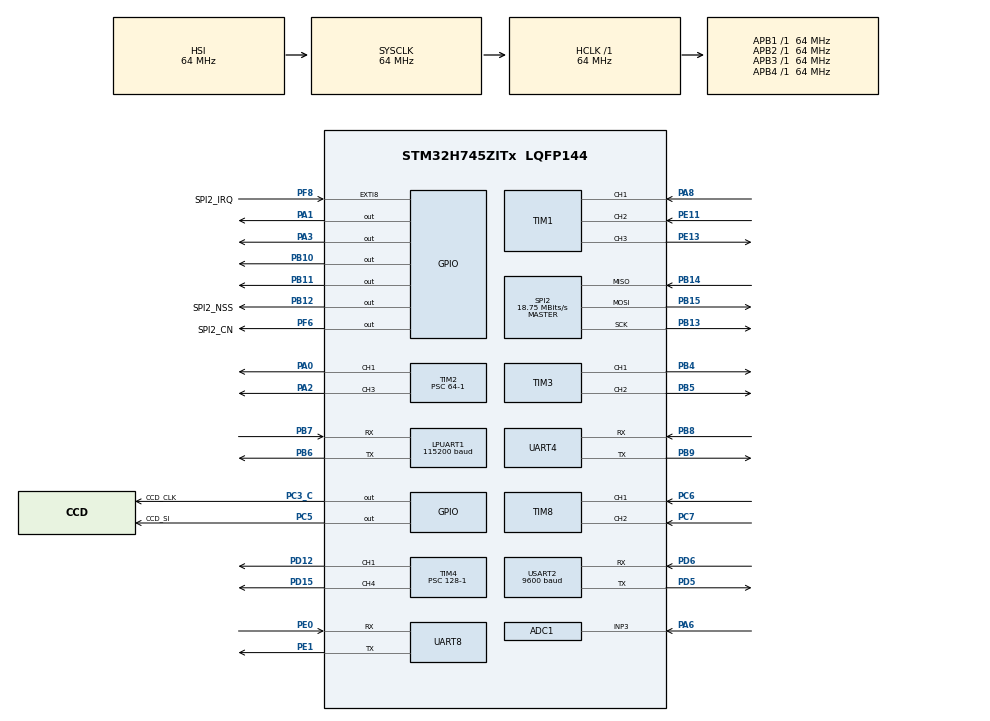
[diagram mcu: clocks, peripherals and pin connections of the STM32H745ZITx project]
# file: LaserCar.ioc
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ADC1.Channel-0\#ChannelRegularConversion=ADC_CHANNEL_3
ADC1.ClockPrescaler=ADC_CLOCK_ASYNC_DIV2
ADC1.ContinuousConvMode=ENABLE
ADC1.NbrOfConversion=1
ADC1.NbrOfConversionFlag=1
ADC1.OffsetNumber-0\#ChannelRegularConversion=ADC_OFFSET_NONE
ADC1.OffsetSignedSaturation-0\#ChannelRegularConversion=DISABLE
ADC1.Overrun=ADC_OVR_DATA_OVERWRITTEN
ADC1.Rank-0\#ChannelRegularConversion=1
ADC1.Resolution=ADC_RESOLUTION_12B
ADC1.SamplingTime-0\#ChannelRegularConversion=ADC_SAMPLETIME_8CYCLES_5
ADC1.master=1
CORTEX_M7.CPU_DCache=Enabled
CORTEX_M7.CPU_ICache=Enabled
CORTEX_M7.DisableExec-Cortex_Memory_Protection_Unit_Region0_Settings=MPU_INSTRUCTION_ACCESS_DISABLE
CORTEX_M7.Enable-Cortex_Memory_Protection_Unit_Region0_Settings=MPU_REGION_ENABLE
CORTEX_M7.IsShareable-Cortex_Memory_Protection_Unit_Region0_Settings=MPU_ACCESS_SHAREABLE
CORTEX_M7.MPU_Control=MPU_PRIVILEGED_DEFAULT
CORTEX_M7.Size-Cortex_Memory_Protection_Unit_Region0_Settings=MPU_REGION_SIZE_4GB
CORTEX_M7.SubRegionDisable-Cortex_Memory_Protection_Unit_Region0_Settings=0x87
CortexM4.IPs=BDMA,CORTEX_M4\:I,DEBUG,DMA,FATFS_M4\:I,FREERTOS_M4\:I,GPIO,IWDG2\:I,MDMA,NVIC2\:I,OPENAMP_M4\:I,PDM2PCM_M4\:I,PWR,RCC,RESMGR_UTILITY,SYS_M4\:I,USB_DEVICE_M4\:I,USB_HOST_M4\:I,VREFBUF,WWDG2\:I
CortexM7.IPs=BDMA\:I,CORTEX_M7\:I,DEBUG\:I,DMA\:I,FATFS_M7\:I,FREERTOS_M7\:I,GPIO\:I,IWDG1\:I,MDMA\:I,NVIC1\:I,OPENAMP_M7\:I,PDM2PCM_M7\:I,PWR\:I,RCC\:I,RESMGR_UTILITY\:I,SYS\:I,USB_DEVICE_M7\:I,USB_HOST_M7\:I,VREFBUF\:I,WWDG1\:I,TIM2\:I,TIM1\:I,USART2\:I,ADC1\:I,TIM3\:I,TIM4\:I,TIM8\:I,TIM5\:I,LPUART1\:I,SPI2\:I,UART4\:I,UART8\:I
CortexM7.Pins=PF6,PF8,PC3_C,PA1,PA3,PC5,PB10,PB11,PB12
LPUART1.BaudRate=115200
Mcu.Family=STM32H7
Mcu.Name=STM32H745ZITx
Mcu.Package=LQFP144
NVIC1.EXTI9_5_IRQn=true\:0\:0\:false\:false\:true\:true\:true\:true
NVIC1.LPUART1_IRQn=true\:0\:0\:false\:false\:true\:true\:true\:true
NVIC1.PriorityGroup=NVIC_PRIORITYGROUP_4
NVIC1.TIM2_IRQn=true\:0\:0\:false\:false\:true\:true\:true\:true
NVIC1.TIM3_IRQn=true\:0\:0\:false\:false\:true\:true\:true\:true
NVIC1.TIM4_IRQn=true\:0\:0\:false\:false\:true\:true\:true\:true
NVIC1.TIM5_IRQn=true\:0\:0\:false\:false\:true\:true\:true\:true
NVIC1.UART4_IRQn=true\:0\:0\:false\:false\:true\:true\:true\:true
NVIC1.USART2_IRQn=true\:0\:0\:false\:false\:true\:true\:true\:true
NVIC2.PriorityGroup=NVIC_PRIORITYGROUP_4
PA0.PinAttribute=CortexM7
PA0.Signal=S_TIM2_CH1_ETR
PA1.GPIO_ModeDefaultOutputPP=GPIO_MODE_OUTPUT_PP
PA1.GPIO_Speed=GPIO_SPEED_FREQ_LOW
PA1.PinAttribute=CortexM7
PA1.PinState=GPIO_PIN_RESET
PA1.Signal=GPIO_Output
PA2.PinAttribute=CortexM7
PA2.Signal=S_TIM2_CH3
PA3.GPIO_ModeDefaultOutputPP=GPIO_MODE_OUTPUT_PP
PA3.GPIO_Speed=GPIO_SPEED_FREQ_LOW
PA3.PinAttribute=CortexM7
PA3.PinState=GPIO_PIN_RESET
PA3.Signal=GPIO_Output
PA6.GPIO_PuPd=GPIO_NOPULL
PA6.PinAttribute=CortexM7
PA6.Signal=ADCx_INP3
PA8.GPIO_Speed=GPIO_SPEED_FREQ_HIGH
PA8.PinAttribute=CortexM7
PA8.Signal=S_TIM1_CH1
PB10.GPIO_Speed=GPIO_SPEED_FREQ_HIGH
PB10.PinAttribute=CortexM7
PB10.PinState=GPIO_PIN_SET
PB10.Signal=GPIO_Output
PB11.GPIO_Speed=GPIO_SPEED_FREQ_HIGH
PB11.PinAttribute=CortexM7
PB11.PinState=GPIO_PIN_SET
PB11.Signal=GPIO_Output
PB12.GPIO_Label=SPI2_NSS
PB12.GPIO_ModeDefaultOutputPP=GPIO_MODE_OUTPUT_PP
PB12.GPIO_PuPd=GPIO_PULLUP
PB12.GPIO_Speed=GPIO_SPEED_FREQ_HIGH
PB12.PinAttribute=CortexM7
PB12.PinState=GPIO_PIN_SET
PB12.Signal=GPIO_Output
PB13.Mode=Full_Duplex_Master
PB13.PinAttribute=CortexM7
PB13.Signal=SPI2_SCK
PB14.Mode=Full_Duplex_Master
PB14.PinAttribute=CortexM7
PB14.Signal=SPI2_MISO
PB15.Mode=Full_Duplex_Master
PB15.PinAttribute=CortexM7
PB15.Signal=SPI2_MOSI
PB4\ (NJTRST).PinAttribute=CortexM7
PB4\ (NJTRST).Signal=S_TIM3_CH1
PB5.PinAttribute=CortexM7
PB5.Signal=S_TIM3_CH2
PB6.Mode=Asynchronous
PB6.PinAttribute=CortexM7
PB6.Signal=LPUART1_TX
PB7.Mode=Asynchronous
PB7.PinAttribute=CortexM7
PB7.Signal=LPUART1_RX
PB8.Mode=Asynchronous
PB8.PinAttribute=CortexM7
PB8.Signal=UART4_RX
PB9.Mode=Asynchronous
PB9.PinAttribute=CortexM7
PB9.Signal=UART4_TX
PC3_C.GPIO_Label=CCD_CLK
PC3_C.GPIO_ModeDefaultOutputPP=GPIO_MODE_OUTPUT_PP
PC3_C.GPIO_PuPd=GPIO_PULLUP
PC3_C.GPIO_Speed=GPIO_SPEED_FREQ_LOW
PC3_C.PinAttribute=CortexM7
PC3_C.PinState=GPIO_PIN_RESET
PC3_C.Signal=GPIO_Output
PC5.GPIO_Label=CCD_SI
PC5.GPIO_PuPd=GPIO_PULLUP
PC5.GPIO_Speed=GPIO_SPEED_FREQ_LOW
PC5.PinAttribute=CortexM7
PC5.PinState=GPIO_PIN_RESET
PC5.Signal=GPIO_Output
PC6.PinAttribute=CortexM7
PC6.Signal=S_TIM8_CH1
PC7.PinAttribute=CortexM7
PC7.Signal=S_TIM8_CH2
PD12.PinAttribute=CortexM7
PD12.Signal=S_TIM4_CH1
PD15.PinAttribute=CortexM7
PD15.Signal=S_TIM4_CH4
PD5.Mode=Asynchronous
PD5.PinAttribute=CortexM7
PD5.Signal=USART2_TX
PD6.Mode=Asynchronous
PD6.PinAttribute=CortexM7
PD6.Signal=USART2_RX
PE0.Mode=Asynchronous
PE0.PinAttribute=CortexM7
PE0.Signal=UART8_RX
PE1.Mode=Asynchronous
PE1.PinAttribute=CortexM7
PE1.Signal=UART8_TX
PE11.GPIO_Speed=GPIO_SPEED_FREQ_HIGH
PE11.PinAttribute=CortexM7
PE11.Signal=S_TIM1_CH2
PE13.PinAttribute=CortexM7
PE13.Signal=S_TIM1_CH3
PF6.GPIO_Label=SPI2_CN
PF6.GPIO_ModeDefaultOutputPP=GPIO_MODE_OUTPUT_PP
PF6.GPIO_PuPd=GPIO_PULLUP
PF6.GPIO_Speed=GPIO_SPEED_FREQ_HIGH
PF6.PinAttribute=CortexM7
PF6.PinState=GPIO_PIN_SET
PF6.Signal=GPIO_Output
PF8.GPIO_Label=SPI2_IRQ
PF8.GPIO_ModeDefaultEXTI=GPIO_MODE_IT_FALLING
PF8.GPIO_PuPd=GPIO_PULLUP
PF8.PinAttribute=CortexM7
PF8.Signal=GPXTI8
ProjectManager.HeapSize=M4-0x200,M7-0x200
ProjectManager.StackSize=M4-0x400,M7-0x400
ProjectManager.TargetToolchain=STM32CubeIDE
RCC.ADCFreq_Value=13333333.333333334
RCC.APB1Freq_Value=64000000
RCC.APB2Freq_Value=64000000
RCC.APB3Freq_Value=64000000
RCC.APB4Freq_Value=64000000
RCC.CSICalibrationValue=32
RCC.CortexFreq_Value=64000000
RCC.DIVM1=4
RCC.DIVM2=4
RCC.DIVN1=9
RCC.DIVN2=10
RCC.DIVP2=12
RCC.DIVQ1=1
RCC.HCLKFreq_Value=64000000
RCC.HSE_VALUE=25000000
RCC.HSICalibrationValue=64
RCC.PLL2FRACN=0
RCC.PLL3FRACN=0
RCC.PLL3_VCI_Range-AdvancedSettings=RCC_PLL3VCIRANGE_0
RCC.PLLFRACN=3072
RCC.PWR_Regulator_Voltage_Scale=PWR_REGULATOR_VOLTAGE_SCALE1
RCC.SYSCLKFreq_VALUE=64000000
RCC.USBFreq_Value=150000000
SH.ADCx_INP3.0=ADC1_INP3,IN3-Single-Ended
SH.S_TIM1_CH1.0=TIM1_CH1,Encoder_Interface
SH.S_TIM1_CH2.0=TIM1_CH2,Encoder_Interface
SH.S_TIM1_CH3.0=TIM1_CH3,PWM Generation3 CH3
SH.S_TIM2_CH1_ETR.0=TIM2_CH1,PWM Generation1 CH1
SH.S_TIM2_CH3.0=TIM2_CH3,PWM Generation3 CH3
SH.S_TIM3_CH1.0=TIM3_CH1,PWM Generation1 CH1
SH.S_TIM3_CH2.0=TIM3_CH2,PWM Generation2 CH2
SH.S_TIM4_CH1.0=TIM4_CH1,PWM Generation1 CH1
SH.S_TIM4_CH4.0=TIM4_CH4,PWM Generation4 CH4
SH.S_TIM8_CH1.0=TIM8_CH1,Encoder_Interface
SH.S_TIM8_CH2.0=TIM8_CH2,Encoder_Interface
SPI2.BaudRatePrescaler=SPI_BAUDRATEPRESCALER_8
SPI2.CRCCalculation=SPI_CRCCALCULATION_ENABLE
SPI2.CalculateBaudRate=18.75 MBits/s
SPI2.DataSize=SPI_DATASIZE_8BIT
SPI2.Direction=SPI_DIRECTION_2LINES
SPI2.Mode=SPI_MODE_MASTER
SPI2.VirtualType=VM_MASTER
SYS.userName=SYS_M7
TIM1.Channel-PWM\ Generation3\ CH3=TIM_CHANNEL_3
TIM1.ClockDivision=TIM_CLOCKDIVISION_DIV1
TIM1.EncoderMode=TIM_ENCODERMODE_TI12
TIM1.IC1Filter=15
TIM1.IC2Filter=15
TIM2.AutoReloadPreload=TIM_AUTORELOAD_PRELOAD_ENABLE
TIM2.Channel-PWM\ Generation1\ CH1=TIM_CHANNEL_1
TIM2.Channel-PWM\ Generation3\ CH3=TIM_CHANNEL_3
TIM2.OC1Preload_PWM=DISABLE
TIM2.OC3Preload_PWM=DISABLE
TIM2.Period=10000-1
TIM2.Prescaler=64-1
TIM2.Pulse-PWM\ Generation1\ CH1=750
TIM2.Pulse-PWM\ Generation3\ CH3=750
TIM3.Channel-PWM\ Generation1\ CH1=TIM_CHANNEL_1
TIM3.Channel-PWM\ Generation2\ CH2=TIM_CHANNEL_2
TIM4.Channel-PWM\ Generation1\ CH1=TIM_CHANNEL_1
TIM4.Channel-PWM\ Generation4\ CH4=TIM_CHANNEL_4
TIM4.Period=10000-1
TIM4.Prescaler=128-1
TIM5.Period=500-1
TIM5.Prescaler=128-1
TIM8.EncoderMode=TIM_ENCODERMODE_TI12
TIM8.IC1Filter=15
TIM8.IC2Filter=15
USART2.BaudRate=9600
USART2.VirtualMode-Asynchronous=VM_ASYNC
VP_SYS_M4_VS_Systick.Mode=SysTick
VP_TIM2_VS_ClockSourceINT.Mode=Internal
VP_TIM3_VS_ClockSourceINT.Mode=Internal
VP_TIM4_VS_ClockSourceINT.Mode=Internal
VP_TIM5_VS_ClockSourceINT.Mode=Internal
board=custom

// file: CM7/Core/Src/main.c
/* USER CODE BEGIN Header */
/**
  ******************************************************************************
  * @file           : main.c
  * @brief          : Main program body
  ******************************************************************************
  * @attention
  *
  * Copyright (c) 2025 STMicroelectronics.
  * All rights reserved.
  *
  * This software is licensed under terms that can be found in the LICENSE file
  * in the root directory of this software component.
  * If no LICENSE file comes with this software, it is provided AS-IS.
  *
  ******************************************************************************
  */
/* USER CODE END Header */
#include "main.h"
#include "adc.h"
#include "usart.h"
#include "spi.h"
#include "tim.h"
#include "gpio.h"

/* USER CODE BEGIN Includes */
#include "string.h"
#include "stdio.h"
#include "stdlib.h"
#include "math.h"
#include "CCR_PID.h"
/* USER CODE END Includes */

/* USER CODE BEGIN PD */
#ifndef HSEM_ID_0
#define HSEM_ID_0 (0U) /* HW semaphore 0*/
#endif
/* USER CODE END PD */

/* USER CODE BEGIN PV */

uint16_t startAngleX = 90;
uint16_t startAngleY = 90;

uint16_t currentAngleX;
uint16_t currentAngleY;

int16_t currentCCRX;
int16_t currentCCRY;

int32_t maxCCRX = 900;
int32_t minCCRX = 600;
int32_t maxCCRY = 900;
int32_t minCCRY = 600;

uint8_t Serial_RxBuffer1[128];
uint8_t RxIndex1 = 0;
uint8_t RxFlag1 = 0;
uint8_t ByteRcv1;

uint8_t Serial_RxBuffer2[128];
uint8_t RxIndex2 = 0;
uint8_t RxFlag2 = 0;
uint8_t ByteRcv2;

int16_t PID_delta_CCRX=0;
int16_t PID_delta_CCRY=0;
uint8_t PIDflag = 0;

float targetX;
float currentX;
float targetY;
float currentY;

/* USER CODE END PV */

void SystemClock_Config(void);
static void MPU_Config(void);

/* USER CODE BEGIN 0 */
void HAL_UART_RxCpltCallback(UART_HandleTypeDef *huart)
{
    if (huart == &hlpuart1)
    {
        uint8_t receivedChar1 = ByteRcv1;

        // 检测测消息结束符（换行符）hlpuart1
        if (receivedChar1 == '\n')
        {
            Serial_RxBuffer1[RxIndex1] = '\0'; // 添加字符串终止符
            RxFlag1 = 1;
            RxIndex1 = 0;
        }
        else
        {
            Serial_RxBuffer1[RxIndex1++] = receivedChar1;
            if (RxIndex1 >= sizeof(Serial_RxBuffer1) - 1)
            {
                RxIndex1 = 0; // 防止缓冲区溢出
            }
        }
        // 重新启用接收中断
        HAL_UART_Receive_IT(&hlpuart1, &ByteRcv1, 1);
    }

    if (huart == &huart2)
       {
           uint8_t receivedChar2 = ByteRcv2;

           // 检测测消息结束符（换行符）
           if (receivedChar2 == '\n')
           {
               Serial_RxBuffer2[RxIndex2] = '\0'; // 添加字符串终止符
               RxFlag2 = 1;
               RxIndex2 = 0;
           }
           else
           {
               Serial_RxBuffer2[RxIndex2++] = receivedChar2;
               if (RxIndex2 >= sizeof(Serial_RxBuffer2) - 1)
               {
                   RxIndex2 = 0; // 防止缓冲区溢出
               }
           }
           // 重新启用接收中断
           HAL_UART_Receive_IT(&huart2, &ByteRcv2, 1);
       }

/*
    	if (huart == &huart4) {
			uint8_t receivedChar2 = ByteRcv2;
			if (receivedChar2 == '\r') {
				// 忽略\r字符
			} else if (receivedChar2 == '\n') {
				Serial_RxBuffer2[RxIndex2] = '\0';
				RxFlag2 = 1;
				RxIndex2 = 0;
			} else {
				Serial_RxBuffer2[RxIndex2++] = receivedChar2;
				if (RxIndex2 >= sizeof(Serial_RxBuffer2) - 1) {
					RxIndex2 = 0;
				}
			}
			HAL_UART_Receive_IT(&huart4, &ByteRcv2, 1);
		}
*/

}

uint16_t Angle2CCR(uint16_t MaxAngle,uint16_t Angle)
{

   return Angle*1000/MaxAngle+250;
}

/*解析并执行串口命令*/
void ParseAndExecuteCommand(const char* buffer) {
	if (strncmp(buffer,"detect",6) == 0)
	{
		if (sscanf(buffer + 6, " targetX: %f currentX: %f targetY: %f currentY: %f", &targetX,&currentX,&targetY,&currentY) == 4)
		{
			CCRX_PID.Target = targetX;
			CCRX_PID.Current= currentX;
			CCRY_PID.Target = targetY;
			CCRY_PID.Current= currentY;
			PIDflag = 1;
		}
	}

}
/* USER CODE END 0 */

int main(void)
{
/* USER CODE BEGIN Boot_Mode_Sequence_0 */
  int32_t timeout;
/* USER CODE END Boot_Mode_Sequence_0 */

  /* MPU Configuration--------------------------------------------------------*/
  MPU_Config();
/* Enable the CPU Cache */

  /* Enable I-Cache---------------------------------------------------------*/
  SCB_EnableICache();

  /* Enable D-Cache---------------------------------------------------------*/
  SCB_EnableDCache();

/* USER CODE BEGIN Boot_Mode_Sequence_1 */
  /* Wait until CPU2 boots and enters in stop mode or timeout*/
  timeout = 0xFFFF;
  while((__HAL_RCC_GET_FLAG(RCC_FLAG_D2CKRDY) != RESET) && (timeout-- > 0));
  if ( timeout < 0 )
  {
  Error_Handler();
  }
/* USER CODE END Boot_Mode_Sequence_1 */
  /* MCU Configuration--------------------------------------------------------*/

  /* Reset of all peripherals, Initializes the Flash interface and the Systick. */
  HAL_Init();

  /* Configure the system clock */
  SystemClock_Config();
/* USER CODE BEGIN Boot_Mode_Sequence_2 */
/* When system initialization is finished, Cortex-M7 will release Cortex-M4 by means of
HSEM notification */
/*HW semaphore Clock enable*/
__HAL_RCC_HSEM_CLK_ENABLE();
/*Take HSEM */
HAL_HSEM_FastTake(HSEM_ID_0);
/*Release HSEM in order to notify the CPU2(CM4)*/
HAL_HSEM_Release(HSEM_ID_0,0);
/* wait until CPU2 wakes up from stop mode */
timeout = 0xFFFF;
while((__HAL_RCC_GET_FLAG(RCC_FLAG_D2CKRDY) == RESET) && (timeout-- > 0));
if ( timeout < 0 )
{
Error_Handler();
}
/* USER CODE END Boot_Mode_Sequence_2 */

  /* Initialize all configured peripherals */
  MX_GPIO_Init();
  MX_TIM2_Init();
  MX_TIM1_Init();
  MX_TIM4_Init();
  MX_ADC1_Init();
  MX_TIM8_Init();
  MX_TIM5_Init();
  MX_LPUART1_UART_Init();
  MX_USART2_UART_Init();
  MX_SPI2_Init();
  MX_UART4_Init();
  MX_UART8_Init();
  MX_TIM3_Init();
  /* USER CODE BEGIN 2 */
  HAL_TIM_PWM_Start(&htim4,TIM_CHANNEL_1);
  HAL_TIM_PWM_Start(&htim4,TIM_CHANNEL_4);
  __HAL_TIM_SET_COMPARE(&htim4,TIM_CHANNEL_1,Angle2CCR(180,startAngleY));
  __HAL_TIM_SET_COMPARE(&htim4,TIM_CHANNEL_4,Angle2CCR(270,startAngleX));
  currentCCRX = Angle2CCR(270,startAngleX);
  currentCCRY = Angle2CCR(180,startAngleY);

  HAL_UART_Receive_IT(&hlpuart1, &ByteRcv1, 1);
  HAL_UART_Receive_IT(&huart2, &ByteRcv2, 1);

  CCRX_PID_Init(0.035,0.0008,0.1,0,0,0,0.2,0,0,15,0,0,0,0,55,-55,0);
  CCRY_PID_Init(0.035,0.0008,0.1,0,0,0,0.2,0,0,15,0,0,0,0,55,-55,0);
  HAL_UART_Transmit(&huart2,(uint8_t*)"Successfully initialized", 24, HAL_MAX_DELAY);

  /* USER CODE END 2 */

  /* Infinite loop */
  while (1)
  {

    /* USER CODE BEGIN 3 */
	if (RxFlag1)
	{
		ParseAndExecuteCommand((char*)Serial_RxBuffer1);
		//HAL_UART_Transmit(&huart1,(uint8_t*)Serial_RxBuffer1, strlen(Serial_RxBuffer1), HAL_MAX_DELAY);
		RxFlag1 = 0; // 处理完成
	}

	if(RxFlag2)
	{
		//HAL_UART_Transmit(&huart2,(uint8_t*)Serial_RxBuffer2, strlen(Serial_RxBuffer2), HAL_MAX_DELAY);
		ParseAndExecuteCommand((char*)Serial_RxBuffer2);
	    RxFlag2 = 0;
	}

	if (PIDflag)
	{
		CCRX_PID_Update();
		CCRX_PID_Update();
		currentCCRX = __HAL_TIM_GET_COMPARE(&htim4,TIM_CHANNEL_4);
		currentCCRY = __HAL_TIM_GET_COMPARE(&htim4,TIM_CHANNEL_1);
		currentCCRX += CCRX_PID.DeltaCCR;
		currentCCRY += CCRY_PID.DeltaCCR;
		currentCCRX = (currentCCRX < maxCCRX)? currentCCRX : maxCCRX;
		currentCCRX = (currentCCRX > minCCRX)? currentCCRX : minCCRX;
		currentCCRY = (currentCCRY < maxCCRY)? currentCCRY : maxCCRY;
		currentCCRY = (currentCCRY > minCCRY)? currentCCRY : minCCRY;
		__HAL_TIM_SET_COMPARE(&htim4, TIM_CHANNEL_4, currentCCRX);
		__HAL_TIM_SET_COMPARE(&htim4, TIM_CHANNEL_1, currentCCRY);
		PIDflag = 0;
	}
  }
  /* USER CODE END 3 */
}

void SystemClock_Config(void)
{
  RCC_OscInitTypeDef RCC_OscInitStruct = {0};
  RCC_ClkInitTypeDef RCC_ClkInitStruct = {0};

  /** Supply configuration update enable
  */
  HAL_PWREx_ConfigSupply(PWR_DIRECT_SMPS_SUPPLY);

  /** Configure the main internal regulator output voltage
  */
  __HAL_PWR_VOLTAGESCALING_CONFIG(PWR_REGULATOR_VOLTAGE_SCALE1);

  while(!__HAL_PWR_GET_FLAG(PWR_FLAG_VOSRDY)) {}

  /** Initializes the RCC Oscillators according to the specified parameters
  * in the RCC_OscInitTypeDef structure.
  */
  RCC_OscInitStruct.OscillatorType = RCC_OSCILLATORTYPE_HSI;
  RCC_OscInitStruct.HSIState = RCC_HSI_DIV1;
  RCC_OscInitStruct.HSICalibrationValue = RCC_HSICALIBRATION_DEFAULT;
  RCC_OscInitStruct.PLL.PLLState = RCC_PLL_ON;
  RCC_OscInitStruct.PLL.PLLSource = RCC_PLLSOURCE_HSI;
  RCC_OscInitStruct.PLL.PLLM = 4;
  RCC_OscInitStruct.PLL.PLLN = 9;
  RCC_OscInitStruct.PLL.PLLP = 2;
  RCC_OscInitStruct.PLL.PLLQ = 1;
  RCC_OscInitStruct.PLL.PLLR = 2;
  RCC_OscInitStruct.PLL.PLLRGE = RCC_PLL1VCIRANGE_3;
  RCC_OscInitStruct.PLL.PLLVCOSEL = RCC_PLL1VCOMEDIUM;
  RCC_OscInitStruct.PLL.PLLFRACN = 3072;
  if (HAL_RCC_OscConfig(&RCC_OscInitStruct) != HAL_OK)
  {
    Error_Handler();
  }

  /** Initializes the CPU, AHB and APB buses clocks
  */
  RCC_ClkInitStruct.ClockType = RCC_CLOCKTYPE_HCLK|RCC_CLOCKTYPE_SYSCLK
                              |RCC_CLOCKTYPE_PCLK1|RCC_CLOCKTYPE_PCLK2
                              |RCC_CLOCKTYPE_D3PCLK1|RCC_CLOCKTYPE_D1PCLK1;
  RCC_ClkInitStruct.SYSCLKSource = RCC_SYSCLKSOURCE_HSI;
  RCC_ClkInitStruct.SYSCLKDivider = RCC_SYSCLK_DIV1;
  RCC_ClkInitStruct.AHBCLKDivider = RCC_HCLK_DIV1;
  RCC_ClkInitStruct.APB3CLKDivider = RCC_APB3_DIV1;
  RCC_ClkInitStruct.APB1CLKDivider = RCC_APB1_DIV1;
  RCC_ClkInitStruct.APB2CLKDivider = RCC_APB2_DIV1;
  RCC_ClkInitStruct.APB4CLKDivider = RCC_APB4_DIV1;

  if (HAL_RCC_ClockConfig(&RCC_ClkInitStruct, FLASH_LATENCY_0) != HAL_OK)
  {
    Error_Handler();
  }
}

/* MPU Configuration */

void MPU_Config(void)
{
  MPU_Region_InitTypeDef MPU_InitStruct = {0};

  /* Disables the MPU */
  HAL_MPU_Disable();

  /** Initializes and configures the Region and the memory to be protected
  */
  MPU_InitStruct.Enable = MPU_REGION_ENABLE;
  MPU_InitStruct.Number = MPU_REGION_NUMBER0;
  MPU_InitStruct.BaseAddress = 0x0;
  MPU_InitStruct.Size = MPU_REGION_SIZE_4GB;
  MPU_InitStruct.SubRegionDisable = 0x87;
  MPU_InitStruct.TypeExtField = MPU_TEX_LEVEL0;
  MPU_InitStruct.AccessPermission = MPU_REGION_NO_ACCESS;
  MPU_InitStruct.DisableExec = MPU_INSTRUCTION_ACCESS_DISABLE;
  MPU_InitStruct.IsShareable = MPU_ACCESS_SHAREABLE;
  MPU_InitStruct.IsCacheable = MPU_ACCESS_NOT_CACHEABLE;
  MPU_InitStruct.IsBufferable = MPU_ACCESS_NOT_BUFFERABLE;

  HAL_MPU_ConfigRegion(&MPU_InitStruct);
  /* Enables the MPU */
  HAL_MPU_Enable(MPU_PRIVILEGED_DEFAULT);

}

void Error_Handler(void)
{
  __disable_irq();
  while (1)
  {
  }
}
